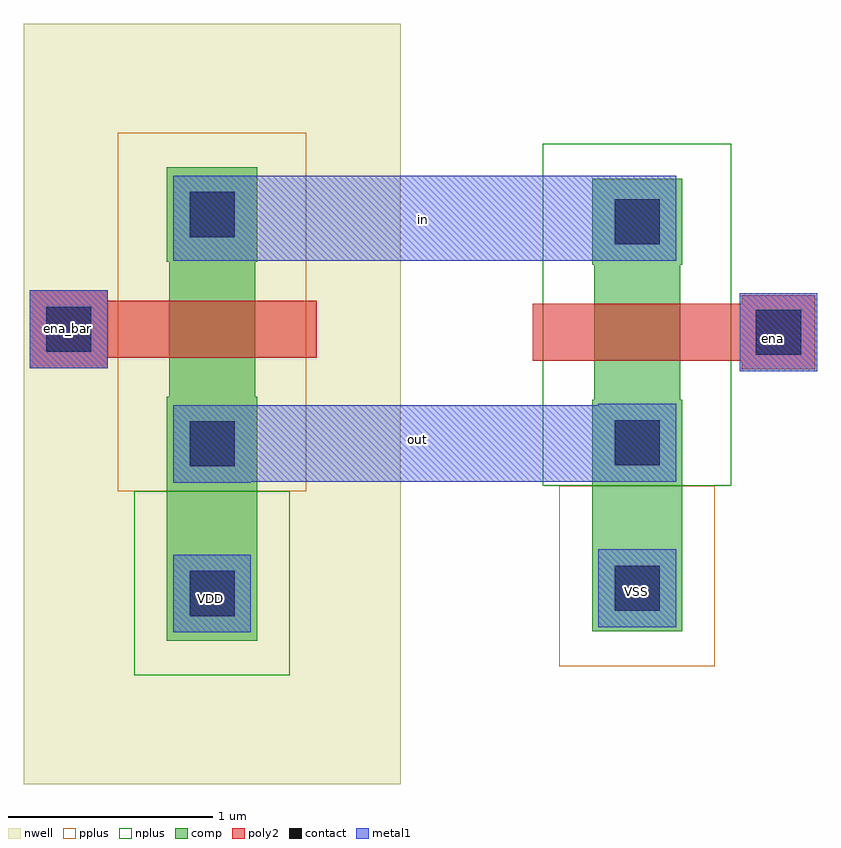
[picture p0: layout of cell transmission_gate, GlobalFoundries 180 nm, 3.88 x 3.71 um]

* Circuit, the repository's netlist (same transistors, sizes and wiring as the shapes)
** sch_path: /foss/designs/libs/core_digital/schem/transmission_gate.sch
.subckt transmission_gate ena_bar VDD out in VSS ena
*.PININFO in:I ena_bar:I ena:I VSS:I VDD:I out:O
M1 in ena_bar out VDD pfet_03v3 L=0.28u W=0.42u nf=1 m=1
M2 in ena out VSS nfet_03v3 L=0.28u W=0.42u nf=1 m=1
.ends

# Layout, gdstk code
from math import pi, radians
import gdstk
lib = gdstk.Library(unit=1e-6, precision=5e-09)
def R(c, l, rs):  # rectangles x0, y0, x1, y1
    for r in rs: c.add(gdstk.rectangle(r[:2], r[2:], *l))
nwell = (21, 0)
comp = (22, 0)
poly2 = (30, 0)
pplus = (31, 0)
nplus = (32, 0)
contact = (33, 0)
metal1 = (34, 0)

nfet_1 = lib.new_cell('nfet$1')
R(nfet_1, comp, [(-0.42,-0.01,0,0.43), (0.66,-0.01,1.08,0.43), (1.08,-0.01,1.79,0.43), (0,0,0.66,0.42)])
R(nfet_1, poly2, [(0.19,-0.3,0.47,0.72), (0.15,0.72,0.51,1.08)])
R(nfet_1, pplus, [(1.08,-0.17,1.96,0.59)])
R(nfet_1, nplus, [(-0.59,-0.25,1.08,0.67)])
R(nfet_1, contact, [(-0.32,0.1,-0.1,0.32), (0.76,0.1,0.98,0.32), (1.47,0.1,1.69,0.32), (0.22,0.79,0.44,1.01)])
R(nfet_1, metal1, [(-0.4,0.02,-0.02,0.4), (0.68,0.02,1.06,0.4), (1.39,0.02,1.77,0.4), (0.14,0.71,0.52,1.09)])

pfet = lib.new_cell('pfet')

pfet_3 = lib.new_cell('pfet$3')
R(pfet_3, nwell, [(-1.16,-0.71,2.55,1.13)])
R(pfet_3, comp, [(-0.46,-0.01,0,0.43), (0.66,-0.01,1.12,0.43), (1.12,-0.01,1.85,0.43), (0,0,0.66,0.42)])
R(pfet_3, poly2, [(0.19,-0.3,0.47,0.72), (0.14,0.72,0.52,1.1)])
R(pfet_3, pplus, [(-0.63,-0.25,1.12,0.67)])
R(pfet_3, nplus, [(1.12,-0.17,2.02,0.59)])
R(pfet_3, contact, [(-0.34,0.1,-0.12,0.32), (0.78,0.1,1,0.32), (1.51,0.1,1.73,0.32), (0.22,0.8,0.44,1.02)])
R(pfet_3, metal1, [(-0.42,0.02,-0.04,0.4), (0.7,0.02,1.08,0.4), (1.43,0.02,1.81,0.4), (0.14,0.72,0.52,1.1)])

transmission_gate = lib.new_cell('transmission_gate')
R(transmission_gate, metal1, [(-1.54,-0.6,0.915,-0.225), (-1.54,0.48,0.915,0.895)])
transmission_gate.add(gdstk.Reference(nfet_1, (0.515,0.46), rotation=3*pi/2))
transmission_gate.add(gdstk.Reference(pfet, (-1.075,0.09), rotation=3*pi/2))
transmission_gate.add(gdstk.Reference(pfet, (-0.98,0.115), rotation=3*pi/2))
transmission_gate.add(gdstk.Reference(pfet, (-0.925,-0.105), rotation=3*pi/2))
transmission_gate.add(gdstk.Reference(pfet, (-1.045,0.115), rotation=3*pi/2))
transmission_gate.add(gdstk.Reference(pfet, (-3.895,0.255), rotation=3*pi/2))
transmission_gate.add(gdstk.Reference(pfet, (-4.225,0.69), rotation=3*pi/2))
transmission_gate.add(gdstk.Reference(pfet, (-3.75,0.445), rotation=3*pi/2))
transmission_gate.add(gdstk.Reference(pfet, (-4.065,-0.635), rotation=3*pi/2))
transmission_gate.add(gdstk.Reference(pfet, (-4.08,-0.7), rotation=3*pi/2))
transmission_gate.add(gdstk.Reference(pfet, (-4.065,-0.57), rotation=3*pi/2))
transmission_gate.add(gdstk.Reference(pfet, (-1.45,0.065), rotation=3*pi/2))
transmission_gate.add(gdstk.Reference(pfet, (-1.48,0.125), rotation=3*pi/2))
transmission_gate.add(gdstk.Reference(pfet, (-1.645,0.065), rotation=3*pi/2))
transmission_gate.add(gdstk.Reference(pfet, (-0.11,-0.01), rotation=3*pi/2))
transmission_gate.add(gdstk.Reference(pfet, (-0.335,0.205), rotation=3*pi/2))
transmission_gate.add(gdstk.Reference(pfet, (-1.17,0.295), rotation=3*pi/2))
transmission_gate.add(gdstk.Reference(pfet_3, (-1.14,0.475), rotation=3*pi/2, x_reflection=True))
transmission_gate.add(gdstk.Label('in', (-0.32,0.68), layer=34, texttype=10))
transmission_gate.add(gdstk.Label('out', (-0.345,-0.395), layer=34, texttype=10))
transmission_gate.add(gdstk.Label('VDD', (-1.36,-1.17), layer=34, texttype=10))
transmission_gate.add(gdstk.Label('VSS', (0.72,-1.135), layer=34, texttype=10))
transmission_gate.add(gdstk.Label('ena_bar', (-2.055,0.15), layer=34, texttype=10))
transmission_gate.add(gdstk.Label('ena', (1.385,0.1), layer=34, texttype=10))

lib.write_gds('transmission_gate.gds')
